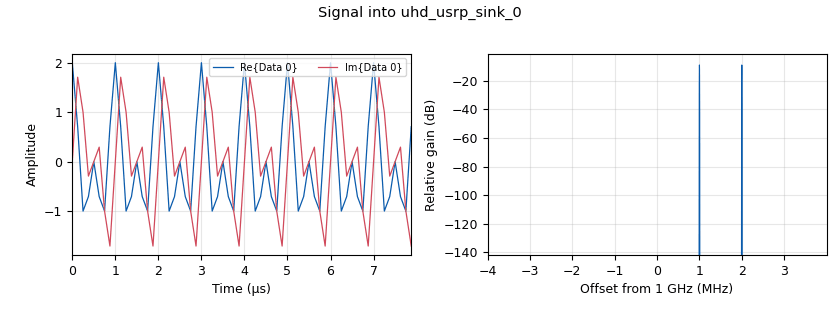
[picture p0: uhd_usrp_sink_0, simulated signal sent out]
<?xml version='1.0' encoding='utf-8'?>
<?grc format='1' created='3.7.12'?>
<flow_graph>
<block>
<key>options</key>
<param><key>id</key><value>send_and_receive_2_cards</value></param>
<param><key>generate_options</key><value>qt_gui</value></param>
</block>
<block>
<key>variable</key>
<param><key>id</key><value>center_freq</value></param>
<param><key>value</key><value>1e9</value></param>
</block>
<block>
<key>variable</key>
<param><key>id</key><value>f</value></param>
<param><key>value</key><value>1e6</value></param>
</block>
<block>
<key>variable</key>
<param><key>id</key><value>f2</value></param>
<param><key>value</key><value>2e6</value></param>
</block>
<block>
<key>variable</key>
<param><key>id</key><value>fft_width</value></param>
<param><key>value</key><value>1024</value></param>
</block>
<block>
<key>variable</key>
<param><key>id</key><value>samp_rate</value></param>
<param><key>value</key><value>8e6</value></param>
</block>
<block>
<key>analog_sig_source_x</key>
<param><key>id</key><value>analog_sig_source_x_0</value></param>
<param><key>amp</key><value>1</value></param>
<param><key>freq</key><value>f</value></param>
<param><key>offset</key><value>0</value></param>
<param><key>type</key><value>complex</value></param>
<param><key>samp_rate</key><value>samp_rate</value></param>
<param><key>waveform</key><value>analog.GR_COS_WAVE</value></param>
</block>
<block>
<key>analog_sig_source_x</key>
<param><key>id</key><value>analog_sig_source_x_0_0</value></param>
<param><key>amp</key><value>1</value></param>
<param><key>freq</key><value>f2</value></param>
<param><key>offset</key><value>0</value></param>
<param><key>type</key><value>complex</value></param>
<param><key>samp_rate</key><value>samp_rate</value></param>
<param><key>waveform</key><value>analog.GR_COS_WAVE</value></param>
</block>
<block>
<key>blocks_add_xx</key>
<param><key>id</key><value>blocks_add_xx_0</value></param>
<param><key>type</key><value>complex</value></param>
</block>
<block>
<key>blocks_complex_to_mag</key>
<param><key>id</key><value>blocks_complex_to_mag_0</value></param>
</block>
<block>
<key>blocks_file_sink</key>
<param><key>id</key><value>blocks_file_sink_0</value></param>
<param><key>_enabled</key><value>0</value></param>
<param><key>file</key><value>/Users/arvidbjurklint/Google Drive/Kandidatarbete-Software defined radio/GNUradio-projekt/send and receive amplitude/refDataComplex.txt</value></param>
<param><key>type</key><value>complex</value></param>
</block>
<block>
<key>blocks_file_sink</key>
<param><key>id</key><value>blocks_file_sink_1</value></param>
<param><key>_enabled</key><value>0</value></param>
<param><key>file</key><value>/Users/arvidbjurklint/Google Drive/Kandidatarbete-Software defined radio/GNUradio-projekt/send and receive amplitude/phantomDataComplex.txt</value></param>
<param><key>type</key><value>complex</value></param>
</block>
<block>
<key>qtgui_freq_sink_x</key>
<param><key>id</key><value>qtgui_freq_sink_x_0</value></param>
<param><key>bw</key><value>samp_rate</value></param>
<param><key>fc</key><value>0</value></param>
<param><key>ctrlpanel</key><value>True</value></param>
<param><key>fftsize</key><value>fft_width</value></param>
<param><key>showports</key><value>True</value></param>
<param><key>type</key><value>complex</value></param>
<param><key>wintype</key><value>firdes.WIN_BLACKMAN_hARRIS</value></param>
</block>
<block>
<key>qtgui_number_sink</key>
<param><key>id</key><value>qtgui_number_sink_0</value></param>
<param><key>graph_type</key><value>qtgui.NUM_GRAPH_HORIZ</value></param>
<param><key>type</key><value>float</value></param>
</block>
<block>
<key>qtgui_tab_widget</key>
<param><key>id</key><value>tab</value></param>
<param><key>label0</key><value>Magnitude</value></param>
<param><key>label1</key><value>Phase</value></param>
<param><key>num_tabs</key><value>2</value></param>
</block>
<block>
<key>uhd_usrp_sink</key>
<param><key>id</key><value>uhd_usrp_sink_0</value></param>
<param><key>ant0</key><value>TX/RX</value></param>
<param><key>center_freq0</key><value>center_freq</value></param>
<param><key>norm_gain0</key><value>False</value></param>
<param><key>gain0</key><value>60</value></param>
<param><key>clock_rate</key><value>0.0</value></param>
<param><key>dev_addr</key><value>serial=30DBB0D</value></param>
<param><key>dev_args</key><value>""</value></param>
<param><key>type</key><value>fc32</value></param>
<param><key>clock_source0</key><value>external</value></param>
<param><key>samp_rate</key><value>samp_rate</value></param>
<param><key>hide_cmd_port</key><value>False</value></param>
<param><key>hide_lo_controls</key><value>True</value></param>
<param><key>sync</key><value></value></param>
<param><key>len_tag_name</key><value></value></param>
</block>
<block>
<key>uhd_usrp_source</key>
<param><key>id</key><value>uhd_usrp_source_0</value></param>
<param><key>ant0</key><value>RX2</value></param>
<param><key>center_freq0</key><value>center_freq</value></param>
<param><key>dc_offs_enb0</key><value>""</value></param>
<param><key>iq_imbal_enb0</key><value>""</value></param>
<param><key>norm_gain0</key><value>False</value></param>
<param><key>gain0</key><value>0</value></param>
<param><key>clock_rate</key><value>0.0</value></param>
<param><key>dev_addr</key><value>serial=30DBB29</value></param>
<param><key>dev_args</key><value>""</value></param>
<param><key>clock_source0</key><value>external</value></param>
<param><key>type</key><value>fc32</value></param>
<param><key>samp_rate</key><value>samp_rate</value></param>
<param><key>hide_cmd_port</key><value>False</value></param>
<param><key>hide_lo_controls</key><value>True</value></param>
<param><key>sync</key><value></value></param>
</block>
<connection><source_block_id>analog_sig_source_x_0</source_block_id><sink_block_id>blocks_add_xx_0</sink_block_id><source_key>0</source_key><sink_key>0</sink_key></connection>
<connection><source_block_id>analog_sig_source_x_0_0</source_block_id><sink_block_id>blocks_add_xx_0</sink_block_id><source_key>0</source_key><sink_key>1</sink_key></connection>
<connection><source_block_id>blocks_add_xx_0</source_block_id><sink_block_id>uhd_usrp_sink_0</sink_block_id><source_key>0</source_key><sink_key>0</sink_key></connection>
<connection><source_block_id>blocks_complex_to_mag_0</source_block_id><sink_block_id>qtgui_number_sink_0</sink_block_id><source_key>0</source_key><sink_key>0</sink_key></connection>
<connection><source_block_id>uhd_usrp_source_0</source_block_id><sink_block_id>blocks_complex_to_mag_0</sink_block_id><source_key>0</source_key><sink_key>0</sink_key></connection>
<connection><source_block_id>uhd_usrp_source_0</source_block_id><sink_block_id>blocks_file_sink_0</sink_block_id><source_key>0</source_key><sink_key>0</sink_key></connection>
<connection><source_block_id>uhd_usrp_source_0</source_block_id><sink_block_id>blocks_file_sink_1</sink_block_id><source_key>0</source_key><sink_key>0</sink_key></connection>
<connection><source_block_id>uhd_usrp_source_0</source_block_id><sink_block_id>qtgui_freq_sink_x_0</sink_block_id><source_key>0</source_key><sink_key>0</sink_key></connection>
</flow_graph>
